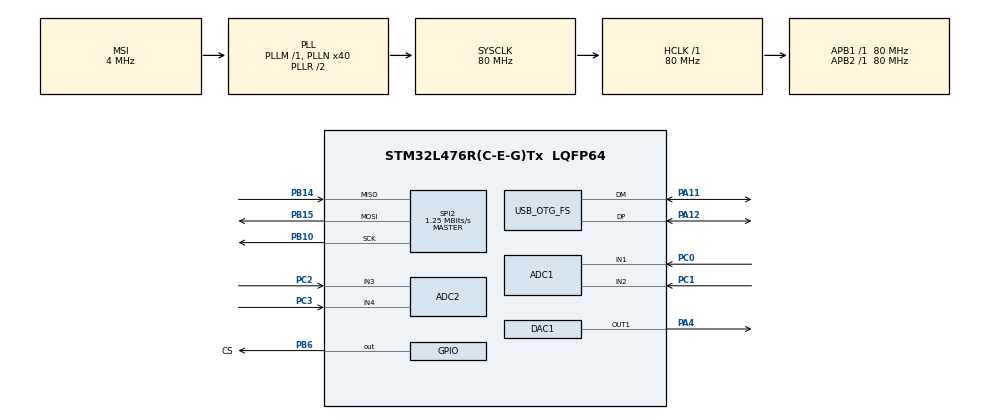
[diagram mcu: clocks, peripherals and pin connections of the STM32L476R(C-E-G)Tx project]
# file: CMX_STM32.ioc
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ADC1.Channel-2\#ChannelRegularConversion=ADC_CHANNEL_1
ADC1.ClockPrescaler=ADC_CLOCK_ASYNC_DIV1
ADC1.ContinuousConvMode=ENABLE
ADC1.DMAAccessModeView=ENABLE
ADC1.DMAContinuousRequests=ENABLE
ADC1.ExternalTrigConv=ADC_EXTERNALTRIG_T8_TRGO
ADC1.Mode=ADC_DUALMODE_REGSIMULT
ADC1.NbrOfConversion=1
ADC1.NbrOfConversionFlag=1
ADC1.Offset-2\#ChannelRegularConversion=2048
ADC1.OffsetNumber-2\#ChannelRegularConversion=ADC_OFFSET_NONE
ADC1.OversamplingMode=ENABLE
ADC1.Rank-2\#ChannelRegularConversion=1
ADC1.Ratio=ADC_OVERSAMPLING_RATIO_16
ADC1.RightBitShift=ADC_RIGHTBITSHIFT_2
ADC1.SamplingTime-2\#ChannelRegularConversion=ADC_SAMPLETIME_2CYCLES_5
ADC1.SingleDiff-2\#ChannelRegularConversion=ADC_DIFFERENTIAL_ENDED
ADC1.master=1
ADC2.Channel-3\#ChannelRegularConversion=ADC_CHANNEL_3
ADC2.DMAAccessModeView=ENABLE
ADC2.EnableRegularConversion=ENABLE
ADC2.Mode=ADC_DUALMODE_REGSIMULT
ADC2.NbrOfConversionFlag=1
ADC2.OffsetNumber-3\#ChannelRegularConversion=ADC_OFFSET_NONE
ADC2.OversamplingMode=ENABLE
ADC2.Rank-3\#ChannelRegularConversion=1
ADC2.Ratio=ADC_OVERSAMPLING_RATIO_16
ADC2.RightBitShift=ADC_RIGHTBITSHIFT_2
ADC2.SamplingTime-3\#ChannelRegularConversion=ADC_SAMPLETIME_2CYCLES_5
ADC2.SingleDiff-3\#ChannelRegularConversion=ADC_DIFFERENTIAL_ENDED
DAC1.DAC_OutputBuffer-DAC_OUT1=DAC_OUTPUTBUFFER_DISABLE
Dma.ADC1.0.Direction=DMA_PERIPH_TO_MEMORY
Dma.ADC1.0.Instance=DMA1_Channel1
Dma.ADC1.0.MemDataAlignment=DMA_MDATAALIGN_WORD
Dma.ADC1.0.MemInc=DMA_MINC_ENABLE
Dma.ADC1.0.Mode=DMA_CIRCULAR
Dma.ADC1.0.PeriphDataAlignment=DMA_PDATAALIGN_WORD
Dma.ADC1.0.PeriphInc=DMA_PINC_DISABLE
Dma.ADC1.0.Priority=DMA_PRIORITY_LOW
Dma.Request0=ADC1
Mcu.Family=STM32L4
Mcu.Name=STM32L476R(C-E-G)Tx
Mcu.Package=LQFP64
NVIC.DMA1_Channel1_IRQn=true\:0\:0\:false\:false\:true\:false\:true\:true
NVIC.OTG_FS_IRQn=true\:0\:0\:false\:false\:true\:true\:true\:true
NVIC.PriorityGroup=NVIC_PRIORITYGROUP_4
PA11.Mode=Device_Only
PA11.Signal=USB_OTG_FS_DM
PA12.Mode=Device_Only
PA12.Signal=USB_OTG_FS_DP
PA4.Signal=COMP_DAC11_group
PB10.Mode=Full_Duplex_Master
PB10.Signal=SPI2_SCK
PB14.Mode=Full_Duplex_Master
PB14.Signal=SPI2_MISO
PB15.Mode=Full_Duplex_Master
PB15.Signal=SPI2_MOSI
PB6.GPIO_Label=CS
PB6.PinState=GPIO_PIN_SET
PB6.Signal=GPIO_Output
PC0.Signal=ADCx_IN1
PC1.Signal=ADCx_IN2
PC2.Signal=ADCx_IN3
PC3.Signal=ADCx_IN4
PH0-OSC_IN\ (PH0).Mode=HSE-External-Oscillator
PH0-OSC_IN\ (PH0).Signal=RCC_OSC_IN
PH1-OSC_OUT\ (PH1).Mode=HSE-External-Oscillator
PH1-OSC_OUT\ (PH1).Signal=RCC_OSC_OUT
ProjectManager.HeapSize=0x4000
ProjectManager.StackSize=0x2000
ProjectManager.TargetToolchain=STM32CubeIDE
RCC.ADCFreq_Value=72000000
RCC.AHBFreq_Value=80000000
RCC.APB1Freq_Value=80000000
RCC.APB1TimFreq_Value=80000000
RCC.APB2Freq_Value=80000000
RCC.APB2TimFreq_Value=80000000
RCC.CortexFreq_Value=80000000
RCC.HCLKFreq_Value=80000000
RCC.HSE_VALUE=8000000
RCC.HSI_VALUE=16000000
RCC.LSE_VALUE=32768
RCC.MSI_VALUE=4000000
RCC.PLLN=40
RCC.PLLSAI1N=72
RCC.PLLSAI1Q=RCC_PLLQ_DIV6
RCC.PLLSAI1R=RCC_PLLR_DIV4
RCC.PREFETCH_ENABLE=1
RCC.SYSCLKFreq_VALUE=80000000
RCC.SYSCLKSource=RCC_SYSCLKSOURCE_PLLCLK
RCC.USBFreq_Value=48000000
RCC.VCOOutputFreq_Value=160000000
SH.ADCx_IN1.0=ADC1_IN1,IN1-Differential
SH.ADCx_IN2.0=ADC1_IN2,IN1-Differential
SH.ADCx_IN3.0=ADC2_IN3,IN3-Differential
SH.ADCx_IN4.0=ADC2_IN4,IN3-Differential
SH.COMP_DAC11_group.0=DAC1_OUT1,DAC_OUT1
SPI2.BaudRatePrescaler=SPI_BAUDRATEPRESCALER_64
SPI2.CLKPhase=SPI_PHASE_1EDGE
SPI2.CLKPolarity=SPI_POLARITY_LOW
SPI2.CalculateBaudRate=1.25 MBits/s
SPI2.DataSize=SPI_DATASIZE_8BIT
SPI2.Direction=SPI_DIRECTION_2LINES
SPI2.Mode=SPI_MODE_MASTER
SPI2.NSSPMode=SPI_NSS_PULSE_ENABLE
SPI2.VirtualType=VM_MASTER
TIM8.Period=99
TIM8.Prescaler=1
TIM8.TIM_MasterOutputTrigger=TIM_TRGO_UPDATE
TIM8.TIM_MasterOutputTrigger2=TIM_TRGO2_UPDATE
USB_DEVICE.CLASS_NAME_FS=CDC
USB_DEVICE.VirtualMode=Cdc
USB_DEVICE.VirtualModeFS=Cdc_FS
USB_OTG_FS.VirtualMode=Device_Only
VP_TIM8_VS_ClockSourceINT.Mode=Internal
VP_USB_DEVICE_VS_USB_DEVICE_CDC_FS.Mode=CDC_FS
board=NUCLEO-L476RG

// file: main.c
/* USER CODE BEGIN Header */
/**
  ******************************************************************************
  * @file           : main.c
  * @brief          : Main program body
  ******************************************************************************
  * @attention
  *
  * Copyright (c) 2023 STMicroelectronics.
  * All rights reserved.
  *
  * This software is licensed under terms that can be found in the LICENSE file
  * in the root directory of this software component.
  * If no LICENSE file comes with this software, it is provided AS-IS.
  *
  ******************************************************************************
  */
/* USER CODE END Header */
#include "main.h"
#include "usb_device.h"

/* USER CODE BEGIN Includes */
#include "usbd_cdc_if.h"
#include "stdio.h"
#include "spi_cmx994.h"
#include "string.h"
/* USER CODE END Includes */

/* USER CODE BEGIN PD */
#define MAX_DATA_ARRAY_SIZE				20000 	// 14 000 bytes == 50ms of signal

#define MEAS_ADC1_CHANNELS 				1
#define ADC1_OVERSAMLING 				2		// ADC value shifting (oversamling)
#define ADC1_BUFFER_SZ 					8 		// ADC Buffer size per channel

/* USER CODE END PD */

ADC_HandleTypeDef hadc1;
ADC_HandleTypeDef hadc2;
DMA_HandleTypeDef hdma_adc1;

DAC_HandleTypeDef hdac1;

SPI_HandleTypeDef hspi2;

TIM_HandleTypeDef htim8;

/* USER CODE BEGIN PV */
uint16_t ADC1_Buffer[4];						// * 2 --> Double Buffer for DMA
uint16_t ADC1_BufferSize = 4;					// ADC1 "half" Buffer size 4 bytes,
uint8_t data_array[MAX_DATA_ARRAY_SIZE];
uint8_t data_array_copy[MAX_DATA_ARRAY_SIZE];
uint16_t array_index = 0;

/* USER CODE END PV */

void SystemClock_Config(void);
void PeriphCommonClock_Config(void);
static void MX_GPIO_Init(void);
static void MX_DMA_Init(void);
static void MX_ADC1_Init(void);
static void MX_TIM8_Init(void);
static void MX_ADC2_Init(void);
static void MX_SPI2_Init(void);
static void MX_DAC1_Init(void);
/* USER CODE BEGIN PFP */

void HAL_ADC_ConvCpltCallback(ADC_HandleTypeDef* hadc);
void HAL_ADC_ConvHalfCpltCallback(ADC_HandleTypeDef* hadc);

uint8_t MEAS_ADC_start(void);
void MEAS_ADC1_eval(uint8_t pos);

/* USER CODE END PFP */

/* USER CODE BEGIN 0 */

uint8_t MEAS_ADC_start(void) {
	// @brief	start ADC
	// @param	none
	// @return	U8 status, 0=OK (no error)

	uint8_t retval = 0;
	uint8_t s = 0;
	HAL_StatusTypeDef status = HAL_OK;
	HAL_ADCEx_Calibration_Start(&hadc1,ADC_DIFFERENTIAL_ENDED);
	status = HAL_ADCEx_Calibration_Start(&hadc1,ADC_DIFFERENTIAL_ENDED);		// calibrate ADC1
	if(status) retval |= (1 << s);
	s++;
	HAL_ADCEx_Calibration_Start(&hadc2,ADC_DIFFERENTIAL_ENDED);
	status = HAL_ADCEx_Calibration_Start(&hadc2,ADC_DIFFERENTIAL_ENDED);		// calibrate ADC2
	if(status) retval |= (1 << s);
	s++;
	HAL_Delay(10);

	// Start ADC1+ADC2 in Multimode configuration
	HAL_ADC_Start(&hadc2);
	HAL_ADCEx_MultiModeStart_DMA(&hadc1, (uint32_t *)ADC1_Buffer, sizeof(ADC1_Buffer)); 	// start ADC1 /w Double Buffer
	//status = HAL_ADC_Start(&hadc2);																	// start ADC2 (slave) first!
	//status = HAL_ADCEx_MultiModeStart_DMA(&hadc1, (uint32_t *)ADC1_Buffer, sizeof(ADC1_Buffer)); 	// start ADC1 /w Double Buffer

	if(status) retval |= (1 << s);
	s++;

	return(retval);
}

void MEAS_ADC1_eval(uint8_t pos) {

	uint16_t bP = 0;
	if(pos) bP = ADC1_BufferSize;

	memcpy(data_array + array_index, ADC1_Buffer + bP,sizeof(ADC1_Buffer)/2); //
	array_index +=4;

	if (array_index==MAX_DATA_ARRAY_SIZE) {

	    // Transmit the data to the PC
		memcpy(data_array_copy, data_array ,MAX_DATA_ARRAY_SIZE);
		CDC_Transmit_FS((uint8_t *)data_array_copy,MAX_DATA_ARRAY_SIZE);
		memset(data_array, 0, MAX_DATA_ARRAY_SIZE);
		array_index = 0;
	}

}

void HAL_ADC_ConvCpltCallback(ADC_HandleTypeDef* hadc) {

   if(hadc) MEAS_ADC1_eval(1);

}

void HAL_ADC_ConvHalfCpltCallback(ADC_HandleTypeDef* hadc) {

   if(hadc) MEAS_ADC1_eval(0);

}

/* USER CODE END 0 */

int main(void)
{

  /* MCU Configuration--------------------------------------------------------*/

  /* Reset of all peripherals, Initializes the Flash interface and the Systick. */
  HAL_Init();

  /* Configure the system clock */
  SystemClock_Config();

/* Configure the peripherals common clocks */
  PeriphCommonClock_Config();

  /* USER CODE BEGIN SysInit */

  /* USER COD E END SysInit */

  /* Initialize all configured peripherals */
  MX_GPIO_Init();
  MX_DMA_Init();
  MX_ADC1_Init();
  MX_TIM8_Init();
  MX_ADC2_Init();
  MX_SPI2_Init();
  MX_DAC1_Init();
  MX_USB_DEVICE_Init();
  /* USER CODE BEGIN 2 */
  HAL_DAC_Start(&hdac1, DAC_CHANNEL_1);
  HAL_DAC_SetValue(&hdac1, DAC_CHANNEL_1, DAC_ALIGN_12B_R,783); ///

  REGISTER_ALL_Init(&hspi2);
  REGISTER_ALL_Read(&hspi2, REGISTER_VALUES);

  HAL_TIM_Base_Start(&htim8);
  MEAS_ADC_start(); // start the ADC conversion
  /* USER CODE END 2 */

  /* Infinite loop */
  while (1)
  {

    /* USER CODE BEGIN 3 */
//	  HAL_DAC_SetValue(&hdac1, DAC_CHANNEL_1, DAC_ALIGN_12B_R,i); ///
//	  i+=1;
//	  HAL_Delay(500);
//	  if (i==1000){
//		  i=500;
//	  }
  }
  /* USER CODE END 3 */
}

void SystemClock_Config(void)
{
  RCC_OscInitTypeDef RCC_OscInitStruct = {0};
  RCC_ClkInitTypeDef RCC_ClkInitStruct = {0};

  /** Configure the main internal regulator output voltage
  */
  if (HAL_PWREx_ControlVoltageScaling(PWR_REGULATOR_VOLTAGE_SCALE1) != HAL_OK)
  {
    Error_Handler();
  }

  /** Initializes the RCC Oscillators according to the specified parameters
  * in the RCC_OscInitTypeDef structure.
  */
  RCC_OscInitStruct.OscillatorType = RCC_OSCILLATORTYPE_MSI;
  RCC_OscInitStruct.MSIState = RCC_MSI_ON;
  RCC_OscInitStruct.MSICalibrationValue = 0;
  RCC_OscInitStruct.MSIClockRange = RCC_MSIRANGE_6;
  RCC_OscInitStruct.PLL.PLLState = RCC_PLL_ON;
  RCC_OscInitStruct.PLL.PLLSource = RCC_PLLSOURCE_MSI;
  RCC_OscInitStruct.PLL.PLLM = 1;
  RCC_OscInitStruct.PLL.PLLN = 40;
  RCC_OscInitStruct.PLL.PLLP = RCC_PLLP_DIV7;
  RCC_OscInitStruct.PLL.PLLQ = RCC_PLLQ_DIV2;
  RCC_OscInitStruct.PLL.PLLR = RCC_PLLR_DIV2;
  if (HAL_RCC_OscConfig(&RCC_OscInitStruct) != HAL_OK)
  {
    Error_Handler();
  }

  /** Initializes the CPU, AHB and APB buses clocks
  */
  RCC_ClkInitStruct.ClockType = RCC_CLOCKTYPE_HCLK|RCC_CLOCKTYPE_SYSCLK
                              |RCC_CLOCKTYPE_PCLK1|RCC_CLOCKTYPE_PCLK2;
  RCC_ClkInitStruct.SYSCLKSource = RCC_SYSCLKSOURCE_PLLCLK;
  RCC_ClkInitStruct.AHBCLKDivider = RCC_SYSCLK_DIV1;
  RCC_ClkInitStruct.APB1CLKDivider = RCC_HCLK_DIV1;
  RCC_ClkInitStruct.APB2CLKDivider = RCC_HCLK_DIV1;

  if (HAL_RCC_ClockConfig(&RCC_ClkInitStruct, FLASH_LATENCY_4) != HAL_OK)
  {
    Error_Handler();
  }
}

void PeriphCommonClock_Config(void)
{
  RCC_PeriphCLKInitTypeDef PeriphClkInit = {0};

  /** Initializes the peripherals clock
  */
  PeriphClkInit.PeriphClockSelection = RCC_PERIPHCLK_USB|RCC_PERIPHCLK_ADC;
  PeriphClkInit.AdcClockSelection = RCC_ADCCLKSOURCE_PLLSAI1;
  PeriphClkInit.UsbClockSelection = RCC_USBCLKSOURCE_PLLSAI1;
  PeriphClkInit.PLLSAI1.PLLSAI1Source = RCC_PLLSOURCE_MSI;
  PeriphClkInit.PLLSAI1.PLLSAI1M = 1;
  PeriphClkInit.PLLSAI1.PLLSAI1N = 72;
  PeriphClkInit.PLLSAI1.PLLSAI1P = RCC_PLLP_DIV7;
  PeriphClkInit.PLLSAI1.PLLSAI1Q = RCC_PLLQ_DIV6;
  PeriphClkInit.PLLSAI1.PLLSAI1R = RCC_PLLR_DIV4;
  PeriphClkInit.PLLSAI1.PLLSAI1ClockOut = RCC_PLLSAI1_48M2CLK|RCC_PLLSAI1_ADC1CLK;
  if (HAL_RCCEx_PeriphCLKConfig(&PeriphClkInit) != HAL_OK)
  {
    Error_Handler();
  }
}

static void MX_ADC1_Init(void)
{

  ADC_MultiModeTypeDef multimode = {0};
  ADC_ChannelConfTypeDef sConfig = {0};

  /** Common config
  */
  hadc1.Instance = ADC1;
  hadc1.Init.ClockPrescaler = ADC_CLOCK_ASYNC_DIV1;
  hadc1.Init.Resolution = ADC_RESOLUTION_12B;
  hadc1.Init.DataAlign = ADC_DATAALIGN_RIGHT;
  hadc1.Init.ScanConvMode = ADC_SCAN_DISABLE;
  hadc1.Init.EOCSelection = ADC_EOC_SINGLE_CONV;
  hadc1.Init.LowPowerAutoWait = DISABLE;
  hadc1.Init.ContinuousConvMode = ENABLE;
  hadc1.Init.NbrOfConversion = 1;
  hadc1.Init.DiscontinuousConvMode = DISABLE;
  hadc1.Init.ExternalTrigConv = ADC_EXTERNALTRIG_T8_TRGO;
  hadc1.Init.ExternalTrigConvEdge = ADC_EXTERNALTRIGCONVEDGE_RISING;
  hadc1.Init.DMAContinuousRequests = ENABLE;
  hadc1.Init.Overrun = ADC_OVR_DATA_PRESERVED;
  hadc1.Init.OversamplingMode = ENABLE;
  hadc1.Init.Oversampling.Ratio = ADC_OVERSAMPLING_RATIO_16;
  hadc1.Init.Oversampling.RightBitShift = ADC_RIGHTBITSHIFT_2;
  hadc1.Init.Oversampling.TriggeredMode = ADC_TRIGGEREDMODE_SINGLE_TRIGGER;
  hadc1.Init.Oversampling.OversamplingStopReset = ADC_REGOVERSAMPLING_CONTINUED_MODE;
  if (HAL_ADC_Init(&hadc1) != HAL_OK)
  {
    Error_Handler();
  }

  /** Configure the ADC multi-mode
  */
  multimode.Mode = ADC_DUALMODE_REGSIMULT;
  multimode.DMAAccessMode = ADC_DMAACCESSMODE_12_10_BITS;
  multimode.TwoSamplingDelay = ADC_TWOSAMPLINGDELAY_1CYCLE;
  if (HAL_ADCEx_MultiModeConfigChannel(&hadc1, &multimode) != HAL_OK)
  {
    Error_Handler();
  }

  /** Configure Regular Channel
  */
  sConfig.Channel = ADC_CHANNEL_1;
  sConfig.Rank = ADC_REGULAR_RANK_1;
  sConfig.SamplingTime = ADC_SAMPLETIME_2CYCLES_5;
  sConfig.SingleDiff = ADC_DIFFERENTIAL_ENDED;
  sConfig.OffsetNumber = ADC_OFFSET_NONE;
  sConfig.Offset = 2048;
  if (HAL_ADC_ConfigChannel(&hadc1, &sConfig) != HAL_OK)
  {
    Error_Handler();
  }

}

static void MX_ADC2_Init(void)
{

  ADC_ChannelConfTypeDef sConfig = {0};

  /** Common config
  */
  hadc2.Instance = ADC2;
  hadc2.Init.ClockPrescaler = ADC_CLOCK_ASYNC_DIV1;
  hadc2.Init.Resolution = ADC_RESOLUTION_12B;
  hadc2.Init.DataAlign = ADC_DATAALIGN_RIGHT;
  hadc2.Init.ScanConvMode = ADC_SCAN_DISABLE;
  hadc2.Init.EOCSelection = ADC_EOC_SINGLE_CONV;
  hadc2.Init.LowPowerAutoWait = DISABLE;
  hadc2.Init.ContinuousConvMode = ENABLE;
  hadc2.Init.NbrOfConversion = 1;
  hadc2.Init.DiscontinuousConvMode = DISABLE;
  hadc2.Init.DMAContinuousRequests = DISABLE;
  hadc2.Init.Overrun = ADC_OVR_DATA_PRESERVED;
  hadc2.Init.OversamplingMode = ENABLE;
  hadc2.Init.Oversampling.Ratio = ADC_OVERSAMPLING_RATIO_16;
  hadc2.Init.Oversampling.RightBitShift = ADC_RIGHTBITSHIFT_2;
  hadc2.Init.Oversampling.TriggeredMode = ADC_TRIGGEREDMODE_SINGLE_TRIGGER;
  hadc2.Init.Oversampling.OversamplingStopReset = ADC_REGOVERSAMPLING_CONTINUED_MODE;
  if (HAL_ADC_Init(&hadc2) != HAL_OK)
  {
    Error_Handler();
  }

  /** Configure Regular Channel
  */
  sConfig.Channel = ADC_CHANNEL_3;
  sConfig.Rank = ADC_REGULAR_RANK_1;
  sConfig.SamplingTime = ADC_SAMPLETIME_2CYCLES_5;
  sConfig.SingleDiff = ADC_DIFFERENTIAL_ENDED;
  sConfig.OffsetNumber = ADC_OFFSET_NONE;
  sConfig.Offset = 0;
  if (HAL_ADC_ConfigChannel(&hadc2, &sConfig) != HAL_OK)
  {
    Error_Handler();
  }

}

static void MX_DAC1_Init(void)
{

  DAC_ChannelConfTypeDef sConfig = {0};

  /** DAC Initialization
  */
  hdac1.Instance = DAC1;
  if (HAL_DAC_Init(&hdac1) != HAL_OK)
  {
    Error_Handler();
  }

  /** DAC channel OUT1 config
  */
  sConfig.DAC_SampleAndHold = DAC_SAMPLEANDHOLD_DISABLE;
  sConfig.DAC_Trigger = DAC_TRIGGER_NONE;
  sConfig.DAC_OutputBuffer = DAC_OUTPUTBUFFER_DISABLE;
  sConfig.DAC_ConnectOnChipPeripheral = DAC_CHIPCONNECT_DISABLE;
  sConfig.DAC_UserTrimming = DAC_TRIMMING_FACTORY;
  if (HAL_DAC_ConfigChannel(&hdac1, &sConfig, DAC_CHANNEL_1) != HAL_OK)
  {
    Error_Handler();
  }

}

static void MX_SPI2_Init(void)
{

  /* SPI2 parameter configuration*/
  hspi2.Instance = SPI2;
  hspi2.Init.Mode = SPI_MODE_MASTER;
  hspi2.Init.Direction = SPI_DIRECTION_2LINES;
  hspi2.Init.DataSize = SPI_DATASIZE_8BIT;
  hspi2.Init.CLKPolarity = SPI_POLARITY_LOW;
  hspi2.Init.CLKPhase = SPI_PHASE_1EDGE;
  hspi2.Init.NSS = SPI_NSS_SOFT;
  hspi2.Init.BaudRatePrescaler = SPI_BAUDRATEPRESCALER_64;
  hspi2.Init.FirstBit = SPI_FIRSTBIT_MSB;
  hspi2.Init.TIMode = SPI_TIMODE_DISABLE;
  hspi2.Init.CRCCalculation = SPI_CRCCALCULATION_DISABLE;
  hspi2.Init.CRCPolynomial = 7;
  hspi2.Init.CRCLength = SPI_CRC_LENGTH_DATASIZE;
  hspi2.Init.NSSPMode = SPI_NSS_PULSE_ENABLE;
  if (HAL_SPI_Init(&hspi2) != HAL_OK)
  {
    Error_Handler();
  }

}

static void MX_TIM8_Init(void)
{

  TIM_ClockConfigTypeDef sClockSourceConfig = {0};
  TIM_MasterConfigTypeDef sMasterConfig = {0};

  htim8.Instance = TIM8;
  htim8.Init.Prescaler = 1;
  htim8.Init.CounterMode = TIM_COUNTERMODE_UP;
  htim8.Init.Period = 99;
  htim8.Init.ClockDivision = TIM_CLOCKDIVISION_DIV1;
  htim8.Init.RepetitionCounter = 0;
  htim8.Init.AutoReloadPreload = TIM_AUTORELOAD_PRELOAD_DISABLE;
  if (HAL_TIM_Base_Init(&htim8) != HAL_OK)
  {
    Error_Handler();
  }
  sClockSourceConfig.ClockSource = TIM_CLOCKSOURCE_INTERNAL;
  if (HAL_TIM_ConfigClockSource(&htim8, &sClockSourceConfig) != HAL_OK)
  {
    Error_Handler();
  }
  sMasterConfig.MasterOutputTrigger = TIM_TRGO_UPDATE;
  sMasterConfig.MasterOutputTrigger2 = TIM_TRGO2_UPDATE;
  sMasterConfig.MasterSlaveMode = TIM_MASTERSLAVEMODE_DISABLE;
  if (HAL_TIMEx_MasterConfigSynchronization(&htim8, &sMasterConfig) != HAL_OK)
  {
    Error_Handler();
  }

}

static void MX_DMA_Init(void)
{

  /* DMA controller clock enable */
  __HAL_RCC_DMA1_CLK_ENABLE();

  /* DMA interrupt init */
  /* DMA1_Channel1_IRQn interrupt configuration */
  HAL_NVIC_SetPriority(DMA1_Channel1_IRQn, 0, 0);
  HAL_NVIC_EnableIRQ(DMA1_Channel1_IRQn);

}

static void MX_GPIO_Init(void)
{
  GPIO_InitTypeDef GPIO_InitStruct = {0};

  /* GPIO Ports Clock Enable */
  __HAL_RCC_GPIOH_CLK_ENABLE();
  __HAL_RCC_GPIOC_CLK_ENABLE();
  __HAL_RCC_GPIOA_CLK_ENABLE();
  __HAL_RCC_GPIOB_CLK_ENABLE();

  /*Configure GPIO pin Output Level */
  HAL_GPIO_WritePin(CS_GPIO_Port, CS_Pin, GPIO_PIN_SET);

  /*Configure GPIO pin : CS_Pin */
  GPIO_InitStruct.Pin = CS_Pin;
  GPIO_InitStruct.Mode = GPIO_MODE_OUTPUT_PP;
  GPIO_InitStruct.Pull = GPIO_NOPULL;
  GPIO_InitStruct.Speed = GPIO_SPEED_FREQ_LOW;
  HAL_GPIO_Init(CS_GPIO_Port, &GPIO_InitStruct);

}

void Error_Handler(void)
{
  __disable_irq();
  while (1)
  {
  }
}
